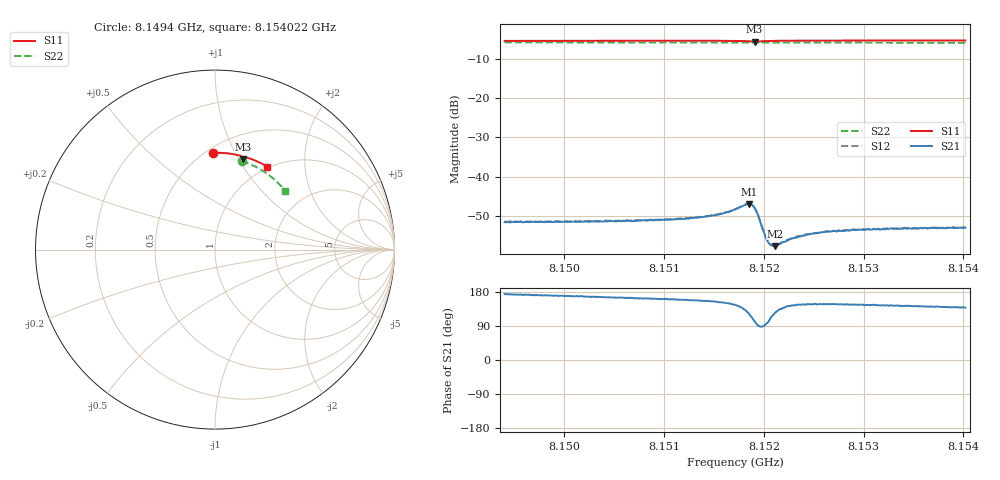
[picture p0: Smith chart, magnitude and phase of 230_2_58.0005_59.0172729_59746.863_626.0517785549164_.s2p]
#  HZ  S  RI  R  50.00
! Rohde & Schwarz Vector Network Analyzer
! Rohde-Schwarz,ZNB20-2Port,1311601062101988,3.16
! Created: UTC 3/21/2024, 1:00:37 AM
! freq[Hz]  re:S11  im:S11  re:S21  im:S21  re:S12  im:S12  re:S22  im:S22
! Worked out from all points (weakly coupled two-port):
!   401 points, 8.1494 GHz to 8.154022 GHz, reference 50 ohm
!   highest |S21| = -46.97 dB at 8.151849 GHz (marker M1); lowest = -57.7 dB at 8.152115 GHz (marker M2)
!   lowest |S11| = -5.6 dB at 8.151907 GHz (marker M3), VSWR 3.24, Z = 37.3 + j52.2 ohm
!   |S11| at or under -10 dB: nowhere
!   |S22| runs from -5.8 to -5.7 dB; largest |S21 - S12| = 0.00013
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8.1493997e9  -0.012 0.5388  -0.00262 0.000278  -0.00263 0.000348  0.1486 0.4939
8.1501738e9  0.0423 0.5386  -0.00261 0.000533  -0.00263 0.000631  0.1957 0.4763
8.150948e9  0.0964 0.5328  -0.00263 0.000922  -0.00266 0.000973  0.2407 0.4544
8.1512253e9  0.116 0.5293  -0.00271 0.00107  -0.00275 0.00113  0.256 0.4452
8.1514217e9  0.1301 0.526  -0.00283 0.00129  -0.00282 0.00133  0.2668 0.4387
8.1515604e9  0.1403 0.523  -0.00296 0.00154  -0.00298 0.00159  0.2744 0.4339
8.1517106e9  0.1519 0.5178  -0.00314 0.00214  -0.00316 0.00222  0.2824 0.4284
8.151803e9  0.1584 0.5117  -0.00297 0.00313  -0.00295 0.00317  0.2871 0.4247
8.1518493e9  0.1593 0.5071  -0.00241 0.00378  -0.00236 0.00387  0.2895 0.423
8.1518839e9  0.1577 0.5046  -0.00153 0.00405  -0.00144 0.00409  0.2911 0.4216
8.151907e9  0.1559 0.5043  -0.000815 0.00388  -0.000759 0.00395  0.2922 0.4206
8.1519417e9  0.1541 0.5063  -6.86e-05 0.00321  -4.32e-05 0.00324  0.2938 0.4197
8.1519995e9  0.1562 0.5109  -3.83e-06 0.00198  1.39e-05 0.00197  0.2969 0.4177
8.1520341e9  0.1591 0.5127  -0.000219 0.00151  -0.000219 0.00156  0.2987 0.4166
8.1520688e9  0.1625 0.5135  -0.000486 0.00126  -0.00044 0.00126  0.3006 0.4151
8.152115e9  0.1666 0.5137  -0.000754 0.00107  -0.000737 0.00109  0.3029 0.4133
8.1522768e9  0.1799 0.5117  -0.00131 0.000967  -0.00128 0.001  0.3113 0.407
8.1524848e9  0.1949 0.5072  -0.00155 0.00103  -0.00159 0.00103  0.3216 0.3986
8.1526234e9  0.2044 0.5039  -0.00167 0.00108  -0.00166 0.00112  0.3283 0.3927
8.1528083e9  0.2167 0.4991  -0.00169 0.0011  -0.00172 0.00116  0.3371 0.3849
8.1532589e9  0.2458 0.4864  -0.00173 0.00129  -0.00177 0.0013  0.3578 0.365
8.1540215e9  0.2923 0.4612  -0.00167 0.00149  -0.00166 0.0015  0.39 0.3287
